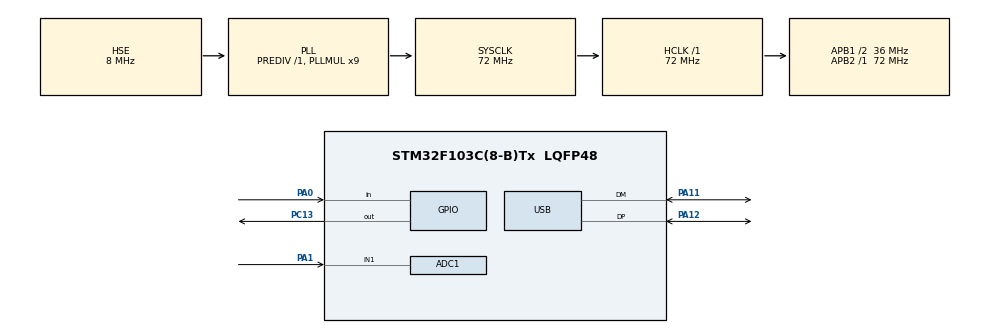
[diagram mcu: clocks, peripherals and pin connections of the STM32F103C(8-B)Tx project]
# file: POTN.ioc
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ADC1.Channel-0\#ChannelRegularConversion=ADC_CHANNEL_1
ADC1.EnableInjectedConversion=DISABLE
ADC1.ExternalTrigConv=ADC_EXTERNALTRIGCONV_T3_TRGO
ADC1.NbrOfConversionFlag=1
ADC1.Rank-0\#ChannelRegularConversion=1
ADC1.SamplingTime-0\#ChannelRegularConversion=ADC_SAMPLETIME_1CYCLE_5
ADC1.master=1
Dma.ADC1.0.Direction=DMA_PERIPH_TO_MEMORY
Dma.ADC1.0.Instance=DMA1_Channel1
Dma.ADC1.0.MemDataAlignment=DMA_MDATAALIGN_WORD
Dma.ADC1.0.MemInc=DMA_MINC_ENABLE
Dma.ADC1.0.Mode=DMA_CIRCULAR
Dma.ADC1.0.PeriphDataAlignment=DMA_PDATAALIGN_WORD
Dma.ADC1.0.PeriphInc=DMA_PINC_DISABLE
Dma.ADC1.0.Priority=DMA_PRIORITY_LOW
Dma.Request0=ADC1
Mcu.Family=STM32F1
Mcu.Name=STM32F103C(8-B)Tx
Mcu.Package=LQFP48
NVIC.DMA1_Channel1_IRQn=true\:0\:0\:false\:false\:true\:false\:true
NVIC.PriorityGroup=NVIC_PRIORITYGROUP_4
NVIC.USB_LP_CAN1_RX0_IRQn=true\:0\:0\:false\:false\:true\:false\:true
PA0-WKUP.GPIO_PuPd=GPIO_PULLUP
PA0-WKUP.Signal=GPIO_Input
PA1.Signal=ADCx_IN1
PA11.Mode=Device
PA11.Signal=USB_DM
PA12.Mode=Device
PA12.Signal=USB_DP
PC13-TAMPER-RTC.Signal=GPIO_Output
PC14-OSC32_IN.Mode=LSE-External-Oscillator
PC14-OSC32_IN.Signal=RCC_OSC32_IN
PC15-OSC32_OUT.Mode=LSE-External-Oscillator
PC15-OSC32_OUT.Signal=RCC_OSC32_OUT
PD0-OSC_IN.Mode=HSE-External-Oscillator
PD0-OSC_IN.Signal=RCC_OSC_IN
PD1-OSC_OUT.Mode=HSE-External-Oscillator
PD1-OSC_OUT.Signal=RCC_OSC_OUT
ProjectManager.HeapSize=0x200
ProjectManager.StackSize=0x400
ProjectManager.TargetToolchain=MDK-ARM V5
RCC.ADCPresc=RCC_ADCPCLK2_DIV6
RCC.AHBFreq_Value=72000000
RCC.APB1CLKDivider=RCC_HCLK_DIV2
RCC.APB1Freq_Value=36000000
RCC.APB1TimFreq_Value=72000000
RCC.APB2Freq_Value=72000000
RCC.APB2TimFreq_Value=72000000
RCC.HCLKFreq_Value=72000000
RCC.PLLMUL=RCC_PLL_MUL9
RCC.SYSCLKFreq_VALUE=72000000
RCC.SYSCLKSource=RCC_SYSCLKSOURCE_PLLCLK
RCC.USBFreq_Value=48000000
RCC.USBPrescaler=RCC_USBCLKSOURCE_PLL_DIV1_5
SH.ADCx_IN1.0=ADC1_IN1,IN1
TIM3.Period=100
TIM3.Prescaler=72
TIM3.TIM_MasterOutputTrigger=TIM_TRGO_UPDATE
USB_DEVICE.CLASS_NAME_FS=CUSTOM_HID
USB_DEVICE.USBD_CUSTOMHID_OUTREPORT_BUF_SIZE=64
USB_DEVICE.USBD_CUSTOM_HID_REPORT_DESC_SIZE=33
USB_DEVICE.VirtualMode=CustomHid
USB_DEVICE.VirtualModeFS=Custom_Hid_FS
VP_SYS_VS_ND.Mode=No_Debug
VP_TIM3_VS_ClockSourceINT.Mode=Internal
VP_USB_DEVICE_VS_USB_DEVICE_CUSTOM_HID_FS.Mode=CUSTOM_HID_FS
board=custom

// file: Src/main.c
/* USER CODE BEGIN Header */
/**
  ******************************************************************************
  * @file           : main.c
  * @brief          : Main program body
  ******************************************************************************
  * @attention
  *
  * <h2><center>&copy; Copyright (c) 2020 STMicroelectronics.
  * All rights reserved.</center></h2>
  *
  * This software component is licensed by ST under Ultimate Liberty license
  * SLA0044, the "License"; You may not use this file except in compliance with
  * the License. You may obtain a copy of the License at:
  *                             www.st.com/SLA0044
  *
  ******************************************************************************
  */
/* USER CODE END Header */

#include "main.h"
#include "adc.h"
#include "dma.h"
#include "tim.h"
#include "usb_device.h"
#include "gpio.h"
#include "usbd_customhid.h"

/* USER CODE BEGIN Includes */
#include "includes.h"	//UCOS相关
#include "oled.h"   //OLED
#include "display_menu.h"
#include "display_fft.h"
#include "transform.h"
#include "flash.h"

#include "stm32_dsp.h"
#include "table_fft.h"
//#include "bmp.h"		//图片

#define YES 1
#define NO  0

int MENU_NUM = 1; //当前界面编号
int MENU_ALL =6; //总共多少个界面
int MENU4_FLAG = NO; //当前 界面四的 时候 是否开始挂机

extern uint32_t adc_buf[NPT];
extern uint8_t fall_pot[128];	//记录下落点的坐标
extern long lBufInArray[NPT];
extern long lBufOutArray[NPT/2];
extern long lBufMagArray[NPT/2];
extern uint8 fft_num;
extern uint8 fft_auto_flag;

extern USBD_HandleTypeDef hUsbDeviceFS;
unsigned char USB_Recive_Buffer[64]; //USB接收缓存
unsigned char USB_Received_Count = 0;//USB接收计数
/* USER CODE END Includes */

/* USER CODE BEGIN PTD */
#define START_TASK_PRIO  3    //任务优先级   开始任务
#define START_STK_SIZE 128   //任务堆栈大小
OS_TCB StartTaskTCB;        //任务控制块
CPU_STK START_TASK_STK[START_STK_SIZE];  //任务堆栈
void start_task(void *p_arg);   //任务函数

#define KEY_TASK_PRIO		4  //任务优先级						 按键任务
#define KEY_STK_SIZE 		128		//任务堆栈大小
OS_TCB Key_TaskTCB;			//任务控制块
CPU_STK KEY_TASK_STK[KEY_STK_SIZE];			//任务堆栈
void key_task(void *p_arg);				//任务函数

#define USB_TASK_PRIO  5    //任务优先级					USB任务
#define USB_STK_SIZE 128   //任务堆栈大小
OS_TCB UsbTaskTCB;        //任务控制块
CPU_STK USB_TASK_STK[USB_STK_SIZE];  //任务堆栈
void usb_task(void *p_arg);   //任务函数

#define DISPLAY_TASK_PRIO  6    //任务优先级			显示任务
#define DISPLAY_STK_SIZE 128   //任务堆栈大小
OS_TCB DisplayTaskTCB;        //任务控制块
CPU_STK DISPLAY_TASK_STK[USB_STK_SIZE];  //任务堆栈
void display_task(void *p_arg);   //任务函数

#define KEYBOARD_TASK_PRIO  7    //任务优先级			键盘任务
#define KEYBOARD_STK_SIZE 128   //任务堆栈大小
OS_TCB KeyboardTaskTCB;        //任务控制块
CPU_STK KEYBOARD_TASK_STK[USB_STK_SIZE];  //任务堆栈
void keyboard_task(void *p_arg);   //任务函数

/* USER CODE END PTD */

void SystemClock_Config(void);
/* USER CODE BEGIN PFP */
#define RegBase  (0x40005C00L)  /* USB_IP Peripheral Registers base address */
/* Control register */
#define CNTR    ((__IO unsigned *)(RegBase + 0x40))
#define _SetCNTR(wRegValue)  (*CNTR   = (uint16_t)wRegValue)
/* GetCNTR */
#define _GetCNTR()   ((uint16_t) *CNTR)

#define GPIOA_ODR_Addr    (GPIOA_BASE+12) //0x4001080C

#define BITBAND(addr, bitnum) ((addr & 0xF0000000)+0x2000000+((addr &0xFFFFF)<<5)+(bitnum<<2))
#define MEM_ADDR(addr)  *((volatile unsigned long  *)(addr))
#define BIT_ADDR(addr, bitnum)   MEM_ADDR(BITBAND(addr, bitnum))
#define PAout(n)   BIT_ADDR(GPIOA_ODR_Addr,n)  //输出

void usb_port_set(u8 enable)
{
		__HAL_RCC_GPIOA_CLK_ENABLE();           	//开启GPIOA时钟
		if(enable){
			GPIOA->CRH&=0XFFF00FFF;
			GPIOA->CRH|=0X00044000;
			_SetCNTR(_GetCNTR()&(~(1<<1)));
		}
		else {
			_SetCNTR(_GetCNTR()|(1<<1));
			GPIOA->CRH&=0XFFF00FFF;
			GPIOA->CRH|=0X00033000;
			PAout(12)=0;
		}
}
typedef  void (*pFunction)(void);
#define BootloaderAddress    (0x8000000)
pFunction Jump_To_Bootloader;
uint32_t JumpAddress;
void BootloaderStart(void)
{
//		__set_PRIMASK(1);
	  if (((*(__IO uint32_t*)BootloaderAddress) & 0x2FFE0000 ) == 0x20000000)
    {
      /* Jump to user application */

      JumpAddress = *(__IO uint32_t*) (BootloaderAddress + 4);

      Jump_To_Bootloader = (pFunction) JumpAddress;

      /* Initialize user application's Stack Pointer */
			__set_CONTROL(0);
      __set_MSP(*(__IO uint32_t*) BootloaderAddress);

		for(int i = 0; i < 8; i++)
		{
			NVIC->ICER[i] = 0xFFFFFFFF;	/* 关闭中断*/
			NVIC->ICPR[i] = 0xFFFFFFFF;	/* 清楚中断标志位 */
		}
      Jump_To_Bootloader();
    }

}
/* USER CODE END PFP */

int main(void)
{
  /* USER CODE BEGIN 1 */
	OS_ERR err;
	CPU_SR_ALLOC();
	uint8_t flash_flag = 0; //判断当前 是否进入app模式的标志位 从flash第15页最后一个字中读取出来
  /* USER CODE END 1 */

  /* MCU Configuration--------------------------------------------------------*/

  /* Reset of all peripherals, Initializes the Flash interface and the Systick. */
  HAL_Init();

  /* Configure the system clock */
  SystemClock_Config();

  /* USER CODE BEGIN SysInit */
	usb_port_set(1);   								//USB控制寄存器 关闭USB
  /* USER CODE END SysInit */

  /* Initialize all configured peripherals */
  MX_GPIO_Init();
  MX_DMA_Init();
  MX_USB_DEVICE_Init();

//	Flash_ReadData(ADDR_FLASH_PAGE_16-1,&flash_flag,1);
//	if(flash_flag == 0xFF){
//		while(1){
//		usb_port_set(0);		//USB控制寄存器 关闭USB
////		BootloaderStart();
//		__set_FAULTMASK(1);
//		NVIC_SystemReset();				//系统软件复位
//		};
//	}
//

  MX_ADC1_Init();
  MX_TIM3_Init();

	//初始化下落点 把下落的点 初始化为最底部显示
	for(int i=0;i<128;i++)
		fall_pot[i] = 63;
	/*启动ADC的DMA传输 配合下面定时器来触发ADC转换*/
	HAL_ADC_Start_DMA(&hadc1, adc_buf, NPT);
  /* USER CODE BEGIN 2 */

	OSInit(&err);		    //初始化UCOSIII
	OS_CRITICAL_ENTER();	//进入临界区
	//创建开始任务
	OSTaskCreate((OS_TCB 	* )&StartTaskTCB,		//任务控制块
				 (CPU_CHAR	* )"start task", 		//任务名字
                 (OS_TASK_PTR )start_task, 			//任务函数
                 (void		* )0,					//传递给任务函数的参数
                 (OS_PRIO	  )START_TASK_PRIO,     //任务优先级
                 (CPU_STK   * )&START_TASK_STK[0],	//任务堆栈基地址
                 (CPU_STK_SIZE)START_STK_SIZE/10,	//任务堆栈深度限位
                 (CPU_STK_SIZE)START_STK_SIZE,		//任务堆栈大小
                 (OS_MSG_QTY  )0,					//任务内部消息队列能够接收的最大消息数目,为0时禁止接收消息
                 (OS_TICK	  )0,					//当使能时间片轮转时的时间片长度，为0时为默认长度，
                 (void   	* )0,					//用户补充的存储区
                 (OS_OPT      )OS_OPT_TASK_STK_CHK|OS_OPT_TASK_STK_CLR, //任务选项
                 (OS_ERR 	* )&err);				//存放该函数错误时的返回值
	OS_CRITICAL_EXIT();	//退出临界区
	OSStart(&err);      //开启UCOSIII
  /* USER CODE END 2 */

  /* Infinite loop */
  while (1)
  {

  }
}

//开始任务任务函数
void start_task(void *p_arg)
{
	OS_ERR err;

	CPU_SR_ALLOC();
	p_arg = p_arg;

	CPU_Init();
#if OS_CFG_STAT_TASK_EN > 0u
   OSStatTaskCPUUsageInit(&err);  	//统计任务
#endif

#ifdef CPU_CFG_INT_DIS_MEAS_EN		//如果使能了测量中断关闭时间
    CPU_IntDisMeasMaxCurReset();
#endif

#if	OS_CFG_SCHED_ROUND_ROBIN_EN  //当使用时间片轮转的时候
	 //使能时间片轮转调度功能,时间片长度为1个系统时钟节拍，既1*5=5ms
	OSSchedRoundRobinCfg(DEF_ENABLED,1,&err);
#endif

	OLED_Init();
	OLED_ColorTurn(0);//0正常显示，1 反色显示
  OLED_DisplayTurn(0);//0正常显示 1 屏幕翻转显示
	Init_PC_Data();
	OLED_Refresh();

	OS_CRITICAL_ENTER();	//进入临界区
	//创建USB任务
	OSTaskCreate((OS_TCB 	* )&UsbTaskTCB,
				 (CPU_CHAR	* )"USB task",
                 (OS_TASK_PTR )usb_task,
                 (void		* )0,
                 (OS_PRIO	  )USB_TASK_PRIO,
                 (CPU_STK   * )&USB_TASK_STK[0],
                 (CPU_STK_SIZE)USB_STK_SIZE/10,
                 (CPU_STK_SIZE)USB_STK_SIZE,
                 (OS_MSG_QTY  )0,
                 (OS_TICK	  )0,
                 (void   	* )0,
                 (OS_OPT      )OS_OPT_TASK_STK_CHK|OS_OPT_TASK_STK_CLR,
                 (OS_ERR 	* )&err);

//创建KEY任务
	OSTaskCreate((OS_TCB 	* )&Key_TaskTCB,
				 (CPU_CHAR	* )"key task",
                 (OS_TASK_PTR )key_task,
                 (void		* )0,
                 (OS_PRIO	  )KEY_TASK_PRIO,
                 (CPU_STK   * )&KEY_TASK_STK[0],
                 (CPU_STK_SIZE)KEY_STK_SIZE/10,
                 (CPU_STK_SIZE)KEY_STK_SIZE,
                 (OS_MSG_QTY  )0,
                 (OS_TICK	  )0,
                 (void   	* )0,
                 (OS_OPT      )OS_OPT_TASK_STK_CHK|OS_OPT_TASK_STK_CLR,
                 (OS_ERR 	* )&err);

//创建DISPLAY任务
	OSTaskCreate((OS_TCB 	* )&DisplayTaskTCB,
				 (CPU_CHAR	* )"display task",
                 (OS_TASK_PTR )display_task,
                 (void		* )0,
                 (OS_PRIO	  )DISPLAY_TASK_PRIO,
                 (CPU_STK   * )&DISPLAY_TASK_STK[0],
                 (CPU_STK_SIZE)DISPLAY_STK_SIZE/10,
                 (CPU_STK_SIZE)DISPLAY_STK_SIZE,
                 (OS_MSG_QTY  )0,
                 (OS_TICK	  )0,
                 (void   	* )0,
                 (OS_OPT      )OS_OPT_TASK_STK_CHK|OS_OPT_TASK_STK_CLR,
                 (OS_ERR 	* )&err);

//创建KEYBOARD任务
	OSTaskCreate((OS_TCB 	* )&KeyboardTaskTCB,
				 (CPU_CHAR	* )"keyboard task",
                 (OS_TASK_PTR )keyboard_task,
                 (void		* )0,
                 (OS_PRIO	  )KEYBOARD_TASK_PRIO,
                 (CPU_STK   * )&KEYBOARD_TASK_STK[0],
                 (CPU_STK_SIZE)KEYBOARD_STK_SIZE/10,
                 (CPU_STK_SIZE)KEYBOARD_STK_SIZE,
                 (OS_MSG_QTY  )0,
                 (OS_TICK	  )0,
                 (void   	* )0,
                 (OS_OPT      )OS_OPT_TASK_STK_CHK|OS_OPT_TASK_STK_CLR,
                 (OS_ERR 	* )&err);
	OSTaskSuspend((OS_TCB*)&KeyboardTaskTCB,&err);  //挂起 键盘任务

	OS_CRITICAL_EXIT();	//退出临界区
	OSTaskDel((OS_TCB*)0,&err);	//删除start_task任务自身
}

//usb任务函数
void usb_task(void *p_arg)
{
	static u8 status = 0;
	static u32 flag = 0;    // 类似看门狗flag
	uint8_t HID_Buffer[64];
	OS_ERR err;
	CPU_SR_ALLOC();
	p_arg = p_arg;

	Buffer_Set(HID_Buffer,READY_PACK);
	Buffer_Set(USB_Recive_Buffer,0);

	while(1)
	{
		if(USB_Recive_Buffer[0] == UPGRED_PACK){

			Flash_WriteWord(ADDR_FLASH_PAGE_15,0xFFFFFFFF,255);
			HAL_Delay(100);
			usb_port_set(0);   								//USB控制寄存器 关闭USB

//			OS_CRITICAL_ENTER();	//进入临界区
//			OSTaskDel((OS_TCB*)&KeyboardTaskTCB,&err);
//			OSTaskDel((OS_TCB*)&DisplayTaskTCB,&err);
//			OSTaskDel((OS_TCB*)&Key_TaskTCB,&err);
//			OSTaskDel((OS_TCB*)&DisplayTaskTCB,&err);
//			OSTaskDel((OS_TCB*)&UsbTaskTCB,&err);
//			OS_CRITICAL_EXIT();	//退出临界区
//			__set_FAULTMASK(1);
//			NVIC_SystemReset();				//系统软件复位
			BootloaderStart();
			while(1);
		}

		switch (status){

			case 0:

				if(USB_Recive_Buffer[0] == CPU_GPU_PACK){						// 是否接受到了CPU+GPU型号包 PC->STM32
					flag = 0;
					status = 1;
					transform_CPUGPU();
					break;
				}
				USBD_CUSTOM_HID_SendReport(&hUsbDeviceFS, HID_Buffer,64);			//发送 就绪包 STM32->PC
				OSTimeDlyHMSM(0,0,1,0,OS_OPT_TIME_HMSM_STRICT,&err); //延时1s
				flag++;
				if(flag == 16)			//如果16s内未能接收到
					status = 3;
			break;

			case 1:
				Buffer_Set(HID_Buffer,AKC_PACK);
				USBD_CUSTOM_HID_SendReport(&hUsbDeviceFS, HID_Buffer,64);			//发送 应答包 STM32->PC
				Buffer_Set(HID_Buffer,0);
				status = 2;

			break;

			case 2: 																			//接受数据包

				if(USB_Recive_Buffer[0] == DATA_PACK){
					transform_DATA();
					flag = 0;
				}
				if(MENU_NUM == MENU_ALL -1){   //当前为显示 FFT音乐频谱界面
					flag = 0;
				}

				flag++;
				if(flag > 10*15 ){
					status = 3;
				}

			break;

			case 3:								// 传输错误
				MENU_NUM = MENU_ALL;	  //最后一个页面
			break;

		}
		OSTimeDlyHMSM(0,0,0,100,OS_OPT_TIME_HMSM_STRICT,&err); //延时100ms

	}
}

void display_task(void *p_arg){

	OS_ERR err;
	CPU_SR_ALLOC();
	p_arg = p_arg;
	while(1){
		switch(MENU_NUM){

			case 1:
				display_menu1();
				break;

			case 2:
				display_menu2();
				break;

			case 3:
				display_menu3();
				break;

			case 4:
				if(MENU4_FLAG == 0)
					display_menu4_1();
				else if(MENU4_FLAG == 1)
					display_menu4_2();
				break;

			case 5:  // FFT 音乐频谱 在中断中显示
				OLED_Clear();
				break;

			case 6:                    // 最后一个页面
				display_menu5();
			break;

		}
		OSTimeDlyHMSM(0,0,0,50,OS_OPT_TIME_HMSM_STRICT,&err); //延时50ms

	}

}

//key任务函数
void key_task(void *p_arg)
{
	static u8 STATUS = 0;

	OS_ERR err;
	CPU_SR_ALLOC();
	p_arg = p_arg;
	while(1){

		switch (STATUS){
			case 0:										//检测到按键
				if(HAL_GPIO_ReadPin(GPIOA,GPIO_PIN_0) == 0){
					STATUS = 1;
				}
				break;

			case 1:										//消抖
				if(HAL_GPIO_ReadPin(GPIOA,GPIO_PIN_0) == 0){
					STATUS = 2;
				}
				else STATUS = 0;
				break;

			case 2:
				for(int i = 0; i < 100;i++){
					if(HAL_GPIO_ReadPin(GPIOA,GPIO_PIN_0) == 1){			// 不是长按
						STATUS = 3;
						break;
					}
				OSTimeDlyHMSM(0,0,0,10,OS_OPT_TIME_HMSM_STRICT,&err); //延时10ms
				}

				if(STATUS != 3){
					STATUS = 4;         //长按
					while(HAL_GPIO_ReadPin(GPIOA,GPIO_PIN_0) != 1){
						OSTimeDlyHMSM(0,0,0,10,OS_OPT_TIME_HMSM_STRICT,&err); //延时10ms
					}
				}

			break;

			case 3:
				STATUS = 6;    //确定不是双击
				for(int i = 0; i < 20; i++){
					if(HAL_GPIO_ReadPin(GPIOA,GPIO_PIN_0) == 0){
						OSTimeDlyHMSM(0,0,0,10,OS_OPT_TIME_HMSM_STRICT,&err); //延时10ms
						if(HAL_GPIO_ReadPin(GPIOA,GPIO_PIN_0) == 0){

							STATUS = 5;     //    确定双击
							break;
						}
					}
				 OSTimeDlyHMSM(0,0,0,10,OS_OPT_TIME_HMSM_STRICT,&err); //延时10ms
				}

			break;

			case 4:                 //长按
			STATUS = 0;
			if(MENU_NUM == 4){
				if(MENU4_FLAG == NO){
					MENU4_FLAG = YES;
					OSTaskResume((OS_TCB*)&KeyboardTaskTCB,&err);
				}
				else {
					MENU4_FLAG = NO;
					OSTaskSuspend((OS_TCB*)&KeyboardTaskTCB,&err);  //挂起 键盘任务
				}
			}
			if(MENU_NUM == MENU_ALL-1){ //FFT音乐频谱界面

				if(fft_auto_flag == 1)
					fft_auto_flag = 0;
				else
					fft_auto_flag =1;
			}

			break;

			case 5:								//	双击
			STATUS = 0;
			if(MENU_NUM == MENU_ALL - 1){  //FFT音乐频谱界面
				fft_num++;
				if(fft_num > 4)
					fft_num = 1;
			}

			while(HAL_GPIO_ReadPin(GPIOA,GPIO_PIN_0) != 1){
				OSTimeDlyHMSM(0,0,0,10,OS_OPT_TIME_HMSM_STRICT,&err); //延时10ms
			}
			break;

			case 6:								// 单击
			STATUS = 0;

			if(MENU_NUM != 4 || MENU4_FLAG == NO){   //不在挂机界面才有效
				MENU_NUM +=1 ;
				if(MENU_NUM > MENU_ALL - 1){     		//从音乐频谱的界面切回到第一个界面
					OLED_Clear();
					MENU_NUM = 1;
					HAL_TIM_Base_Stop(&htim3);        //关闭定时器3
					HAL_ADC_Stop_DMA(&hadc1);
					OSTimeDlyHMSM(0,0,0,50,OS_OPT_TIME_HMSM_STRICT,&err); //延时50ms
					OLED_Clear();
					OSTaskResume((OS_TCB*)&DisplayTaskTCB,&err);  //恢复显示任务

				}
				else if(MENU_NUM == MENU_ALL - 1){  //如果是 显示FFT音乐频谱的界面
					OSTaskSuspend((OS_TCB*)&DisplayTaskTCB,&err);  						//挂起 显示任务
					OLED_Clear();
					OSTimeDlyHMSM(0,0,0,50,OS_OPT_TIME_HMSM_STRICT,&err); //延时50ms
					HAL_TIM_Base_Start(&htim3);		/*开启定时器 用溢出事件来触发ADC转换*/
					HAL_ADC_Start_DMA(&hadc1, adc_buf, NPT);
				}

			}

			break;

		}
		OSTimeDlyHMSM(0,0,0,10,OS_OPT_TIME_HMSM_STRICT,&err); //延时10ms

	};
}

void keyboard_task(void *p_arg){

	uint8_t KEYBOARD_Buffer[8]={0x00,0x00,44,0x00,0x00,0x00,0x00,0x00};  //空格
	OS_ERR err;
	CPU_SR_ALLOC();
	p_arg = p_arg;
	while(1){
		OSTimeDlyHMSM(0,0,3,0,OS_OPT_TIME_HMSM_STRICT,&err); //延时3s
		if(MENU4_FLAG == 1&&	MENU_NUM == 4){
					OS_CRITICAL_ENTER();
					USBD_KEYBOADR_HID_SendReport(&hUsbDeviceFS, KEYBOARD_Buffer,9);
					OS_CRITICAL_EXIT();

					KEYBOARD_Buffer[2] = 0;
					OSTimeDlyHMSM(0,0,0,300,OS_OPT_TIME_HMSM_STRICT,&err); //延时300ms

					OS_CRITICAL_ENTER();
					USBD_KEYBOADR_HID_SendReport(&hUsbDeviceFS, KEYBOARD_Buffer,9);
					OS_CRITICAL_EXIT();

					KEYBOARD_Buffer[2] = 44;
		}

	}

}

//ADC DMA传输中断
void HAL_ADC_ConvCpltCallback(ADC_HandleTypeDef* hadc)
{
	CPU_SR_ALLOC();
	OS_CRITICAL_ENTER();	//进入临界区
	uint16_t i = 0;
	static uint16_t num = 0;

	HAL_ADC_Stop_DMA(&hadc1);							//完成一次测量 关闭DMA传输

	//填充数组
	for(i=0;i<NPT;i++)
		lBufInArray[i] = ((signed short)(adc_buf[i]-2048)) << 16;		//这里因为单片机的ADC只能测正的电压 所以需要前级加直流偏执
																																	//加入直流偏执后 软件上减去2048即一半 达到负半周期测量的目的

	cr4_fft_256_stm32(lBufOutArray, lBufInArray, NPT);							//FFT变换
	GetPowerMag();																									//取直流分量对应的AD值

	if(fft_auto_flag == 1){
		num++;
		if(num > 150){
		num = 0;

		fft_num++;
		if(fft_num > 4)	fft_num = 1;
		}
	}
	switch (fft_num){

		case 1:
			display_fft_1();
			break;

		case 2:
			display_fft_3();

			break;

		case 3:
			display_fft_2();
			break;
		case 4:
			display_fft_4();
			break;

	}
	OS_CRITICAL_EXIT();	//退出临界区
	HAL_ADC_Start_DMA(&hadc1, adc_buf, NPT);
}

void SystemClock_Config(void)
{
  RCC_OscInitTypeDef RCC_OscInitStruct = {0};
  RCC_ClkInitTypeDef RCC_ClkInitStruct = {0};
  RCC_PeriphCLKInitTypeDef PeriphClkInit = {0};

  /** Initializes the CPU, AHB and APB busses clocks
  */
  RCC_OscInitStruct.OscillatorType = RCC_OSCILLATORTYPE_HSE;
  RCC_OscInitStruct.HSEState = RCC_HSE_ON;
  RCC_OscInitStruct.HSEPredivValue = RCC_HSE_PREDIV_DIV1;
  RCC_OscInitStruct.HSIState = RCC_HSI_ON;
  RCC_OscInitStruct.PLL.PLLState = RCC_PLL_ON;
  RCC_OscInitStruct.PLL.PLLSource = RCC_PLLSOURCE_HSE;
  RCC_OscInitStruct.PLL.PLLMUL = RCC_PLL_MUL9;
  if (HAL_RCC_OscConfig(&RCC_OscInitStruct) != HAL_OK)
  {
    Error_Handler();
  }
  /** Initializes the CPU, AHB and APB busses clocks
  */
  RCC_ClkInitStruct.ClockType = RCC_CLOCKTYPE_HCLK|RCC_CLOCKTYPE_SYSCLK
                              |RCC_CLOCKTYPE_PCLK1|RCC_CLOCKTYPE_PCLK2;
  RCC_ClkInitStruct.SYSCLKSource = RCC_SYSCLKSOURCE_PLLCLK;
  RCC_ClkInitStruct.AHBCLKDivider = RCC_SYSCLK_DIV1;
  RCC_ClkInitStruct.APB1CLKDivider = RCC_HCLK_DIV2;
  RCC_ClkInitStruct.APB2CLKDivider = RCC_HCLK_DIV1;

  if (HAL_RCC_ClockConfig(&RCC_ClkInitStruct, FLASH_LATENCY_2) != HAL_OK)
  {
    Error_Handler();
  }
  PeriphClkInit.PeriphClockSelection = RCC_PERIPHCLK_ADC|RCC_PERIPHCLK_USB;
  PeriphClkInit.AdcClockSelection = RCC_ADCPCLK2_DIV6;
  PeriphClkInit.UsbClockSelection = RCC_USBCLKSOURCE_PLL_DIV1_5;
  if (HAL_RCCEx_PeriphCLKConfig(&PeriphClkInit) != HAL_OK)
  {
    Error_Handler();
  }
}

void Error_Handler(void)
{
}

/************************ (C) COPYRIGHT STMicroelectronics *****END OF FILE****/
